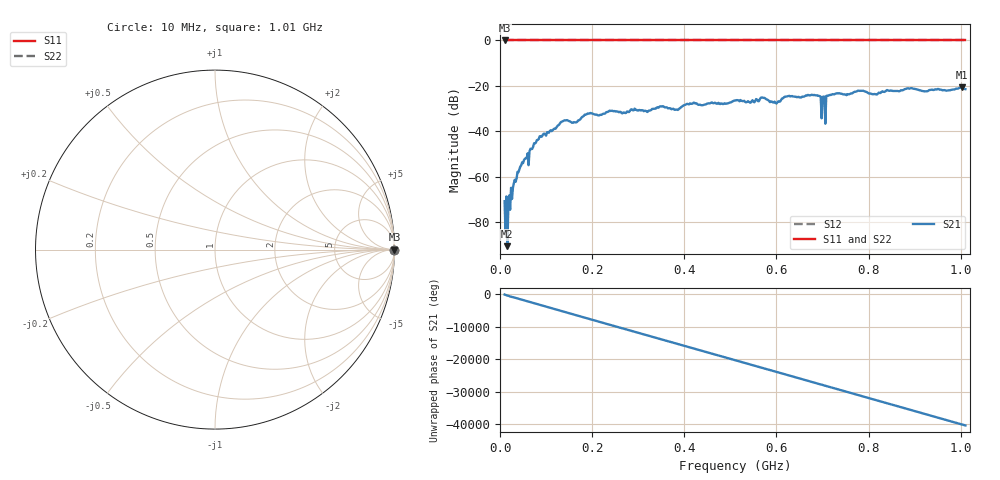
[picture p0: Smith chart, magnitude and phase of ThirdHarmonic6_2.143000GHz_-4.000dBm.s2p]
! 8/17/2025 1:35:39 AM
! C:\ANRITSUVNA\TEMP\TEMP.S2P
! CHANNEL.1
! TR.MEASUREMENT
! RAW.DATA
! RF.CORRECTION.OFF
! AVERAGING.OFF
! IF.BANDWIDTH: 5KHZ
! SWEEPTYPE:  FREQ.SWEEP(Linear)
! Reference Plane Port Info
! PORT:  PORT1  PORT2
! DISTANCE:  0  m  0  m
! TIME:  0  s  0  s
! PHASE.OFFSET:  0  deg.  0  deg.
! LOSS:  0  dB  0  dB
! REF.LOSS:  0  dB  0  dB
! REF.FREQ:  0  Hz  0  Hz
! Power Info
! POWER:  -20  dBm  -20  dBm
! EFF.POWER:  -20  dBm  -20  dBm
! SOURCE.ATTEN:  0  dB  0  dB
! TEST.ATTEN:  0  dB  0  dB
# GHZ S RI R 50.0
! FREQ.GHZ  S11RE  S11IM  S21RE  S21IM  S12RE  S12IM  S22RE  S22IM
!; PortSelection: Port_12
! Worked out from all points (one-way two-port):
!   501 points, 10 MHz to 1.01 GHz, reference 50 ohm
!   highest |S21| = -20.73 dB at 1.002 GHz (marker M1); lowest = -90.7 dB at 16 MHz (marker M2)
!   lowest |S11| = 0.0 dB at 10 MHz (marker M3)
!   |S11| at or under -10 dB: nowhere
!   |S22| runs from 0.0 to 0.0 dB; largest |S21 - S12| = 1.1
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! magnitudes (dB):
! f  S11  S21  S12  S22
! 10 MHz  0.0  -70.8  0.0  0.0
! 16 MHz  0.0  -90.7  0.0  0.0
! 42 MHz  0.0  -56.9  0.0  0.0
! 84 MHz  0.0  -43.5  0.0  0.0
! 136 MHz  0.0  -35.6  0.0  0.0
! 178 MHz  0.0  -33.7  0.0  0.0
! 344 MHz  0.0  -29.6  0.0  0.0
! 384 MHz  0.0  -30.5  0.0  0.0
! 408 MHz  0.0  -28.1  0.0  0.0
! 510 MHz  0.0  -26.5  0.0  0.0
! 570 MHz  0.0  -25.2  0.0  0.0
! 598 MHz  0.0  -27.5  0.0  0.0
! 622 MHz  0.0  -24.7  0.0  0.0
! 678 MHz  0.0  -24.0  0.0  0.0
! 692 MHz  0.0  -24.4  0.0  0.0
! 702 MHz  0.0  -24.7  0.0  0.0
! 710 MHz  0.0  -24.3  0.0  0.0
! 712 MHz  0.0  -24.3  0.0  0.0
! 718 MHz  0.0  -24.0  0.0  0.0
! 844 MHz  0.0  -22.2  0.0  0.0
! 1.002 GHz  0.0  -20.7  0.0  0.0
! 1.01 GHz  0.0  -21.4  0.0  0.0
